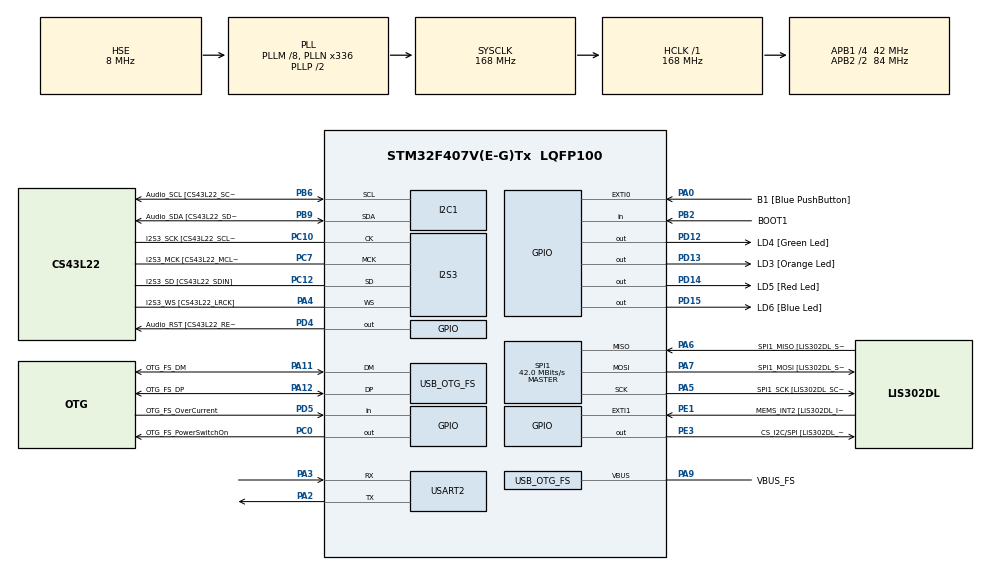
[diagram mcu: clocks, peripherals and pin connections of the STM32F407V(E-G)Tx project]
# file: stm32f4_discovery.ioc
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FREERTOS.Tasks01=defaultTask,0,128,StartDefaultTask,Default
I2S3.AudioFreq-Half_Duplex_Master=I2S_AUDIOFREQ_96K
I2S3.ErrorAudioFreq=-2.34 %
I2S3.ErrorAudioFreq-Half_Duplex_Master=0.8 %
I2S3.RealAudioFreq=93.75 KHz
I2S3.RealAudioFreq-Half_Duplex_Master=96.774 KHz
Mcu.Family=STM32F4
Mcu.Name=STM32F407V(E-G)Tx
Mcu.Package=LQFP100
NVIC.OTG_FS_IRQn=true\:5\:0\:false\:false\:true\:true
NVIC.PriorityGroup=NVIC_PRIORITYGROUP_4
PA0-WKUP.GPIO_Label=B1 [Blue PushButton]
PA0-WKUP.GPIO_ModeDefaultEXTI=GPIO_MODE_EVT_RISING
PA0-WKUP.GPIO_PuPd=GPIO_NOPULL
PA0-WKUP.Signal=GPXTI0
PA10.GPIO_Label=OTG_FS_ID
PA10.GPIO_Mode=GPIO_MODE_AF_PP
PA10.GPIO_PuPd=GPIO_NOPULL
PA10.GPIO_Speed=GPIO_SPEED_FREQ_LOW
PA10.Signal=USB_OTG_FS_ID
PA11.GPIO_Label=OTG_FS_DM
PA11.GPIO_Mode=GPIO_MODE_AF_PP
PA11.GPIO_PuPd=GPIO_NOPULL
PA11.GPIO_Speed=GPIO_SPEED_FREQ_LOW
PA11.Mode=Host_Only
PA11.Signal=USB_OTG_FS_DM
PA12.GPIO_Label=OTG_FS_DP
PA12.GPIO_Mode=GPIO_MODE_AF_PP
PA12.GPIO_PuPd=GPIO_NOPULL
PA12.GPIO_Speed=GPIO_SPEED_FREQ_LOW
PA12.Mode=Host_Only
PA12.Signal=USB_OTG_FS_DP
PA13.GPIO_Label=SWDIO
PA13.Mode=Serial_Wire
PA13.Signal=SYS_JTMS-SWDIO
PA14.GPIO_Label=SWCLK
PA14.Mode=Serial_Wire
PA14.Signal=SYS_JTCK-SWCLK
PA2.Mode=Asynchronous
PA2.Signal=USART2_TX
PA3.Mode=Asynchronous
PA3.Signal=USART2_RX
PA4.GPIO_Label=I2S3_WS [CS43L22_LRCK]
PA4.GPIO_Mode=GPIO_MODE_AF_PP
PA4.GPIO_PuPd=GPIO_NOPULL
PA4.GPIO_Speed=GPIO_SPEED_FREQ_LOW
PA4.Mode=Half_Duplex_Master
PA4.Signal=I2S3_WS
PA5.GPIO_Label=SPI1_SCK [LIS302DL_SCL/SPC]
PA5.GPIO_Mode=GPIO_MODE_AF_PP
PA5.GPIO_PuPd=GPIO_NOPULL
PA5.GPIO_Speed=GPIO_SPEED_FREQ_LOW
PA5.Mode=Full_Duplex_Master
PA5.Signal=SPI1_SCK
PA6.GPIO_Label=SPI1_MISO [LIS302DL_SDO]
PA6.GPIO_Mode=GPIO_MODE_AF_PP
PA6.GPIO_PuPd=GPIO_NOPULL
PA6.GPIO_Speed=GPIO_SPEED_FREQ_LOW
PA6.Mode=Full_Duplex_Master
PA6.Signal=SPI1_MISO
PA7.GPIO_Label=SPI1_MOSI [LIS302DL_SDA/SDI/SDO]
PA7.GPIO_Mode=GPIO_MODE_AF_PP
PA7.GPIO_PuPd=GPIO_NOPULL
PA7.GPIO_Speed=GPIO_SPEED_FREQ_LOW
PA7.Mode=Full_Duplex_Master
PA7.Signal=SPI1_MOSI
PA9.GPIO_Label=VBUS_FS
PA9.GPIO_Mode=GPIO_MODE_INPUT
PA9.GPIO_PuPd=GPIO_NOPULL
PA9.Mode=Activate_VBUS
PA9.Signal=USB_OTG_FS_VBUS
PB10.GPIO_Label=CLK_IN [MP45DT02_CLK]
PB10.GPIO_Mode=GPIO_MODE_AF_PP
PB10.GPIO_PuPd=GPIO_NOPULL
PB10.GPIO_Speed=GPIO_SPEED_FREQ_LOW
PB10.Signal=I2S2_CK
PB2.GPIO_Label=BOOT1
PB2.GPIO_Mode=GPIO_MODE_INPUT
PB2.GPIO_PuPd=GPIO_NOPULL
PB2.Signal=GPIO_Input
PB3.GPIO_Label=SWO
PB3.Signal=SYS_JTDO-SWO
PB6.GPIO_Label=Audio_SCL [CS43L22_SCL]
PB6.GPIO_Mode=GPIO_MODE_AF_OD
PB6.GPIO_PuPd=GPIO_NOPULL
PB6.GPIO_Speed=GPIO_SPEED_FREQ_LOW
PB6.Mode=I2C
PB6.Signal=I2C1_SCL
PB9.GPIO_Label=Audio_SDA [CS43L22_SDA]
PB9.GPIO_Mode=GPIO_MODE_AF_OD
PB9.GPIO_PuPd=GPIO_NOPULL
PB9.GPIO_Speed=GPIO_SPEED_FREQ_LOW
PB9.Mode=I2C
PB9.Signal=I2C1_SDA
PC0.GPIO_Label=OTG_FS_PowerSwitchOn
PC0.GPIO_PuPd=GPIO_NOPULL
PC0.GPIO_Speed=GPIO_SPEED_FREQ_LOW
PC0.PinState=GPIO_PIN_SET
PC0.Signal=GPIO_Output
PC10.GPIO_Label=I2S3_SCK [CS43L22_SCLK]
PC10.GPIO_Mode=GPIO_MODE_AF_PP
PC10.GPIO_PuPd=GPIO_NOPULL
PC10.GPIO_Speed=GPIO_SPEED_FREQ_LOW
PC10.Mode=Half_Duplex_Master
PC10.Signal=I2S3_CK
PC12.GPIO_Label=I2S3_SD [CS43L22_SDIN]
PC12.GPIO_Mode=GPIO_MODE_AF_PP
PC12.GPIO_PuPd=GPIO_NOPULL
PC12.GPIO_Speed=GPIO_SPEED_FREQ_LOW
PC12.Mode=Half_Duplex_Master
PC12.Signal=I2S3_SD
PC14-OSC32_IN.GPIO_Label=PC14-OSC32_IN
PC14-OSC32_IN.Mode=LSE-External-Oscillator
PC14-OSC32_IN.Signal=RCC_OSC32_IN
PC15-OSC32_OUT.GPIO_Label=PC15-OSC32_OUT
PC15-OSC32_OUT.Mode=LSE-External-Oscillator
PC15-OSC32_OUT.Signal=RCC_OSC32_OUT
PC3.GPIO_Label=PDM_OUT [MP45DT02_DOUT]
PC3.GPIO_Mode=GPIO_MODE_AF_PP
PC3.GPIO_PuPd=GPIO_NOPULL
PC3.GPIO_Speed=GPIO_SPEED_FREQ_LOW
PC3.Signal=I2S2_SD
PC7.GPIO_Label=I2S3_MCK [CS43L22_MCLK]
PC7.GPIO_Mode=GPIO_MODE_AF_PP
PC7.GPIO_PuPd=GPIO_NOPULL
PC7.GPIO_Speed=GPIO_SPEED_FREQ_LOW
PC7.Mode=Master_Clock_Activated
PC7.Signal=I2S3_MCK
PD12.GPIO_Label=LD4 [Green Led]
PD12.GPIO_PuPd=GPIO_NOPULL
PD12.GPIO_Speed=GPIO_SPEED_FREQ_LOW
PD12.Signal=GPIO_Output
PD13.GPIO_Label=LD3 [Orange Led]
PD13.GPIO_PuPd=GPIO_NOPULL
PD13.GPIO_Speed=GPIO_SPEED_FREQ_LOW
PD13.Signal=GPIO_Output
PD14.GPIO_Label=LD5 [Red Led]
PD14.GPIO_PuPd=GPIO_NOPULL
PD14.GPIO_Speed=GPIO_SPEED_FREQ_LOW
PD14.Signal=GPIO_Output
PD15.GPIO_Label=LD6 [Blue Led]
PD15.GPIO_PuPd=GPIO_NOPULL
PD15.GPIO_Speed=GPIO_SPEED_FREQ_LOW
PD15.Signal=GPIO_Output
PD4.GPIO_Label=Audio_RST [CS43L22_RESET]
PD4.GPIO_PuPd=GPIO_NOPULL
PD4.GPIO_Speed=GPIO_SPEED_FREQ_LOW
PD4.Signal=GPIO_Output
PD5.GPIO_Label=OTG_FS_OverCurrent
PD5.GPIO_Mode=GPIO_MODE_INPUT
PD5.GPIO_PuPd=GPIO_NOPULL
PD5.Signal=GPIO_Input
PE1.GPIO_Label=MEMS_INT2 [LIS302DL_INT2]
PE1.GPIO_ModeDefaultEXTI=GPIO_MODE_EVT_RISING
PE1.GPIO_PuPd=GPIO_NOPULL
PE1.Signal=GPXTI1
PE3.GPIO_Label=CS_I2C/SPI [LIS302DL_CS_I2C/SPI]
PE3.GPIO_PuPd=GPIO_NOPULL
PE3.GPIO_Speed=GPIO_SPEED_FREQ_LOW
PE3.Signal=GPIO_Output
PH0-OSC_IN.GPIO_Label=PH0-OSC_IN
PH0-OSC_IN.Mode=HSE-External-Oscillator
PH0-OSC_IN.Signal=RCC_OSC_IN
PH1-OSC_OUT.GPIO_Label=PH1-OSC_OUT
PH1-OSC_OUT.Mode=HSE-External-Oscillator
PH1-OSC_OUT.Signal=RCC_OSC_OUT
ProjectManager.HeapSize=0x200
ProjectManager.StackSize=0x400
ProjectManager.TargetToolchain=SW4STM32
RCC.48MHZClocksFreq_Value=48000000
RCC.AHBFreq_Value=168000000
RCC.APB1CLKDivider=RCC_HCLK_DIV4
RCC.APB1Freq_Value=42000000
RCC.APB1TimFreq_Value=84000000
RCC.APB2CLKDivider=RCC_HCLK_DIV2
RCC.APB2Freq_Value=84000000
RCC.APB2TimFreq_Value=168000000
RCC.CortexFreq_Value=168000000
RCC.HCLKFreq_Value=168000000
RCC.HSE_VALUE=8000000
RCC.HSI_VALUE=16000000
RCC.PLLM=8
RCC.PLLN=336
RCC.PLLQ=7
RCC.SYSCLKFreq_VALUE=168000000
RCC.SYSCLKSource=RCC_SYSCLKSOURCE_PLLCLK
RCC.VCOOutputFreq_Value=336000000
SPI1.BaudRatePrescaler=SPI_BAUDRATEPRESCALER_2
SPI1.BaudRatePrescaler-Full_Duplex_Master=SPI_BAUDRATEPRESCALER_2
SPI1.CalculateBaudRate=42.0 MBits/s
SPI1.CalculateBaudRate-Full_Duplex_Master=42.0 MBits/s
SPI1.Mode=SPI_MODE_MASTER
SPI1.Mode-Full_Duplex_Master=SPI_MODE_MASTER
USB_HOST.BSP.number=1
USB_HOST.USBH_HandleTypeDef-CDC_FS=hUsbHostFS
USB_HOST.VirtualModeFS=Cdc
USB_HOST0.BSP.STBoard=false
USB_HOST0.BSP.i2caddr=0
USB_HOST0.BSP.i2creg=0
USB_HOST0.BSP.instance=PC0
USB_HOST0.BSP.ip=GPIO
USB_HOST0.BSP.mode=Output
USB_HOST0.BSP.name=Drive_VBUS_FS
USB_OTG_FS.phy_itface=HCD_PHY_EMBEDDED
VP_CRC_VS_CRC.Mode=CRC_Activate
VP_FREERTOS_VS_ENABLE.Mode=Enabled
VP_IWDG_VS_IWDG.Mode=IWDG_Activate
VP_RNG_VS_RNG.Mode=RNG_Activate
VP_USB_HOST_VS_USB_HOST_CDC_FS.Mode=CDC_FS
VP_WWDG_VS_WWDG.Mode=WWDG_Activate
board=STM32F4DISCOVERY

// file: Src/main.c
/**
  ******************************************************************************
  * File Name          : main.c
  * Description        : Main program body
  ******************************************************************************
  *
  * COPYRIGHT(c) 2017 STMicroelectronics
  *
  * Redistribution and use in source and binary forms, with or without modification,
  * are permitted provided that the following conditions are met:
  *   1. Redistributions of source code must retain the above copyright notice,
  *      this list of conditions and the following disclaimer.
  *   2. Redistributions in binary form must reproduce the above copyright notice,
  *      this list of conditions and the following disclaimer in the documentation
  *      and/or other materials provided with the distribution.
  *   3. Neither the name of STMicroelectronics nor the names of its contributors
  *      may be used to endorse or promote products derived from this software
  *      without specific prior written permission.
  *
  * THIS SOFTWARE IS PROVIDED BY THE COPYRIGHT HOLDERS AND CONTRIBUTORS "AS IS"
  * AND ANY EXPRESS OR IMPLIED WARRANTIES, INCLUDING, BUT NOT LIMITED TO, THE
  * IMPLIED WARRANTIES OF MERCHANTABILITY AND FITNESS FOR A PARTICULAR PURPOSE ARE
  * DISCLAIMED. IN NO EVENT SHALL THE COPYRIGHT HOLDER OR CONTRIBUTORS BE LIABLE
  * FOR ANY DIRECT, INDIRECT, INCIDENTAL, SPECIAL, EXEMPLARY, OR CONSEQUENTIAL
  * DAMAGES (INCLUDING, BUT NOT LIMITED TO, PROCUREMENT OF SUBSTITUTE GOODS OR
  * SERVICES; LOSS OF USE, DATA, OR PROFITS; OR BUSINESS INTERRUPTION) HOWEVER
  * CAUSED AND ON ANY THEORY OF LIABILITY, WHETHER IN CONTRACT, STRICT LIABILITY,
  * OR TORT (INCLUDING NEGLIGENCE OR OTHERWISE) ARISING IN ANY WAY OUT OF THE USE
  * OF THIS SOFTWARE, EVEN IF ADVISED OF THE POSSIBILITY OF SUCH DAMAGE.
  *
  ******************************************************************************
  */
#include "stm32f4xx_hal.h"
#include "cmsis_os.h"
#include "usb_host.h"

CRC_HandleTypeDef hcrc;

I2C_HandleTypeDef hi2c1;

I2S_HandleTypeDef hi2s3;

IWDG_HandleTypeDef hiwdg;

RNG_HandleTypeDef hrng;

SPI_HandleTypeDef hspi1;

UART_HandleTypeDef huart2;

WWDG_HandleTypeDef hwwdg;

osThreadId defaultTaskHandle;

/* USER CODE BEGIN PV */
/* Private variables ---------------------------------------------------------*/

/* USER CODE END PV */

void SystemClock_Config(void);
void Error_Handler(void);
static void MX_GPIO_Init(void);
static void MX_I2C1_Init(void);
static void MX_I2S3_Init(void);
static void MX_SPI1_Init(void);
static void MX_CRC_Init(void);
static void MX_IWDG_Init(void);
static void MX_RNG_Init(void);
static void MX_WWDG_Init(void);
static void MX_USART2_UART_Init(void);
void StartDefaultTask(void const * argument);

/* USER CODE BEGIN PFP */
/* Private function prototypes -----------------------------------------------*/

//tasks
static portTASK_FUNCTION_PROTO( vTaskMonitor, pvParameters );

//global variables
//here, we consider every task should report to the supervisor task through event group,
EventGroupHandle_t sync_group;

BaseType_t sync_reference; //this reference counter is increased every second,
BaseType_t sync_task_group[32];

/*******************************************************************/

void USART2_IRQHandler(void)
{
	uint8_t u8_Data;
	static uint8_t u8_Count = 0;
	//RX
	if (huart2.Instance->SR & UART_FLAG_RXNE)
	{
		u8_Data = huart2.Instance->DR;
	}

	//TX
	if (huart2.Instance->SR & UART_FLAG_TXE)
	{
		huart2.Instance->DR = 'S';

		u8_Count++;

		if (u8_Count >= 18)
		{
			u8_Count = 18;
			//disable the TRANSFER
			huart2.Instance->CR1 &= ~USART_CR1_TXEIE;
			huart2.Instance->SR &= ~UART_FLAG_TC;
		}
	}
}

void Set_LED_on(uint32_t led_pos)
{
	switch(led_pos){
	case LD4_Pin:
	case LD3_Pin:
	case LD5_Pin:
	case LD6_Pin:
		HAL_GPIO_WritePin(GPIOD, led_pos, GPIO_PIN_SET);

	default:
		;
	}
}

void Set_LED_off(uint32_t led_pos)
{
	switch(led_pos){
	case LD4_Pin:
	case LD3_Pin:
	case LD5_Pin:
	case LD6_Pin:
		HAL_GPIO_WritePin(GPIOD, led_pos, GPIO_PIN_RESET);

	default:
		;
	}
}

void vApplicationIdleHook( void )
{
	HAL_IWDG_Refresh(&hiwdg);
}

static BaseType_t increase_and_check_sync(void)
{
	vPortEnterCritical();
	sync_reference++;
	vPortExitCritical();
}
/*
 *
 *
 */
static portTASK_FUNCTION( vTaskMonitor, pvParameters )//void vTaskMonitor(void *pvParameters)
{
#define HALF_SECOND (configTICK_RATE_HZ>>1)
#define ALARM_FREQ	(configTICK_RATE_HZ>>2)

	uint8_t pData[2];
	uint8_t u8_Flag = 0;

	//
	TickType_t  xLastFlashTime;

	HAL_NVIC_EnableIRQ(USART2_IRQn);
	sync_group = xEventGroupCreate();

	xLastFlashTime = xTaskGetTickCount();
	//
	pData[0] = 0x55;
	pData[1] = 0xAA;

	for(;;)
	{
		//feeding the dog
		//HAL_IWDG_Refresh();

		//sync_reference++;
		increase_and_check_sync();

		//LD4 heartbeat
		Set_LED_on(LD4_Pin);

		vTaskDelayUntil(&xLastFlashTime, HALF_SECOND);

		Set_LED_off(LD4_Pin);

		vTaskDelayUntil(&xLastFlashTime, HALF_SECOND);

		HAL_UART_Transmit(&huart2, pData, 2, 20000);
		if (!u8_Flag)
		{
			u8_Flag = 1;
			HAL_UART_Transmit_IT(&huart2, &u8_Flag, 1);

		}
	}
}

/* USER CODE END PFP */

int main(void)
{

  /* MCU Configuration----------------------------------------------------------*/

  /* Reset of all peripherals, Initializes the Flash interface and the Systick. */
  HAL_Init();

  /* Configure the system clock */
  SystemClock_Config();

  /* Initialize all configured peripherals */
  MX_GPIO_Init();
  MX_I2C1_Init();
  MX_I2S3_Init();
  MX_SPI1_Init();
  MX_CRC_Init();
  //MX_IWDG_Init();
  MX_RNG_Init();
  //MX_WWDG_Init();
  MX_USART2_UART_Init();

  /* Create the thread(s) */
  /* definition and creation of defaultTask */
  osThreadDef(defaultTask, StartDefaultTask, osPriorityNormal, 0, 128);
  defaultTaskHandle = osThreadCreate(osThread(defaultTask), NULL);

  xTaskCreate(vTaskMonitor, "task supervisor", 128, NULL, configMAX_PRIORITIES-1, NULL);

  /* Start scheduler */
  osKernelStart();

  /* We should never get here as control is now taken by the scheduler */

  /* Infinite loop */
  while (1)
  {

  }

}

/** System Clock Configuration
*/
void SystemClock_Config(void)
{

  RCC_OscInitTypeDef RCC_OscInitStruct;
  RCC_ClkInitTypeDef RCC_ClkInitStruct;
  RCC_PeriphCLKInitTypeDef PeriphClkInitStruct;

  __HAL_RCC_PWR_CLK_ENABLE();

  __HAL_PWR_VOLTAGESCALING_CONFIG(PWR_REGULATOR_VOLTAGE_SCALE1);

  RCC_OscInitStruct.OscillatorType = RCC_OSCILLATORTYPE_LSI|RCC_OSCILLATORTYPE_HSE;
  RCC_OscInitStruct.HSEState = RCC_HSE_ON;
  RCC_OscInitStruct.LSIState = RCC_LSI_ON;
  RCC_OscInitStruct.PLL.PLLState = RCC_PLL_ON;
  RCC_OscInitStruct.PLL.PLLSource = RCC_PLLSOURCE_HSE;
  RCC_OscInitStruct.PLL.PLLM = 8;
  RCC_OscInitStruct.PLL.PLLN = 336;
  RCC_OscInitStruct.PLL.PLLP = RCC_PLLP_DIV2;
  RCC_OscInitStruct.PLL.PLLQ = 7;
  if (HAL_RCC_OscConfig(&RCC_OscInitStruct) != HAL_OK)
  {
    Error_Handler();
  }

  RCC_ClkInitStruct.ClockType = RCC_CLOCKTYPE_HCLK|RCC_CLOCKTYPE_SYSCLK
                              |RCC_CLOCKTYPE_PCLK1|RCC_CLOCKTYPE_PCLK2;
  RCC_ClkInitStruct.SYSCLKSource = RCC_SYSCLKSOURCE_PLLCLK;
  RCC_ClkInitStruct.AHBCLKDivider = RCC_SYSCLK_DIV1;
  RCC_ClkInitStruct.APB1CLKDivider = RCC_HCLK_DIV4;
  RCC_ClkInitStruct.APB2CLKDivider = RCC_HCLK_DIV2;
  if (HAL_RCC_ClockConfig(&RCC_ClkInitStruct, FLASH_LATENCY_5) != HAL_OK)
  {
    Error_Handler();
  }

  PeriphClkInitStruct.PeriphClockSelection = RCC_PERIPHCLK_I2S;
  PeriphClkInitStruct.PLLI2S.PLLI2SN = 192;
  PeriphClkInitStruct.PLLI2S.PLLI2SR = 2;
  if (HAL_RCCEx_PeriphCLKConfig(&PeriphClkInitStruct) != HAL_OK)
  {
    Error_Handler();
  }

  HAL_SYSTICK_Config(HAL_RCC_GetHCLKFreq()/1000);

  HAL_SYSTICK_CLKSourceConfig(SYSTICK_CLKSOURCE_HCLK);

  /* SysTick_IRQn interrupt configuration */
  HAL_NVIC_SetPriority(SysTick_IRQn, 15, 0);
}

/* CRC init function */
static void MX_CRC_Init(void)
{

  hcrc.Instance = CRC;
  if (HAL_CRC_Init(&hcrc) != HAL_OK)
  {
    Error_Handler();
  }

}

/* I2C1 init function */
static void MX_I2C1_Init(void)
{

  hi2c1.Instance = I2C1;
  hi2c1.Init.ClockSpeed = 100000;
  hi2c1.Init.DutyCycle = I2C_DUTYCYCLE_2;
  hi2c1.Init.OwnAddress1 = 0;
  hi2c1.Init.AddressingMode = I2C_ADDRESSINGMODE_7BIT;
  hi2c1.Init.DualAddressMode = I2C_DUALADDRESS_DISABLE;
  hi2c1.Init.OwnAddress2 = 0;
  hi2c1.Init.GeneralCallMode = I2C_GENERALCALL_DISABLE;
  hi2c1.Init.NoStretchMode = I2C_NOSTRETCH_DISABLE;
  if (HAL_I2C_Init(&hi2c1) != HAL_OK)
  {
    Error_Handler();
  }

}

/* I2S3 init function */
static void MX_I2S3_Init(void)
{

  hi2s3.Instance = SPI3;
  hi2s3.Init.Mode = I2S_MODE_MASTER_TX;
  hi2s3.Init.Standard = I2S_STANDARD_PHILIPS;
  hi2s3.Init.DataFormat = I2S_DATAFORMAT_16B;
  hi2s3.Init.MCLKOutput = I2S_MCLKOUTPUT_ENABLE;
  hi2s3.Init.AudioFreq = I2S_AUDIOFREQ_96K;
  hi2s3.Init.CPOL = I2S_CPOL_LOW;
  hi2s3.Init.ClockSource = I2S_CLOCK_PLL;
  hi2s3.Init.FullDuplexMode = I2S_FULLDUPLEXMODE_DISABLE;
  if (HAL_I2S_Init(&hi2s3) != HAL_OK)
  {
    Error_Handler();
  }

}

/* IWDG init function */
static void MX_IWDG_Init(void)
{

  hiwdg.Instance = IWDG;
  hiwdg.Init.Prescaler = IWDG_PRESCALER_4;
  hiwdg.Init.Reload = 4095;
  if (HAL_IWDG_Init(&hiwdg) != HAL_OK)
  {
    Error_Handler();
  }

}

/* RNG init function */
static void MX_RNG_Init(void)
{

  hrng.Instance = RNG;
  if (HAL_RNG_Init(&hrng) != HAL_OK)
  {
    Error_Handler();
  }

}

/* SPI1 init function */
static void MX_SPI1_Init(void)
{

  hspi1.Instance = SPI1;
  hspi1.Init.Mode = SPI_MODE_MASTER;
  hspi1.Init.Direction = SPI_DIRECTION_2LINES;
  hspi1.Init.DataSize = SPI_DATASIZE_8BIT;
  hspi1.Init.CLKPolarity = SPI_POLARITY_LOW;
  hspi1.Init.CLKPhase = SPI_PHASE_1EDGE;
  hspi1.Init.NSS = SPI_NSS_SOFT;
  hspi1.Init.BaudRatePrescaler = SPI_BAUDRATEPRESCALER_2;
  hspi1.Init.FirstBit = SPI_FIRSTBIT_MSB;
  hspi1.Init.TIMode = SPI_TIMODE_DISABLE;
  hspi1.Init.CRCCalculation = SPI_CRCCALCULATION_DISABLE;
  hspi1.Init.CRCPolynomial = 10;
  if (HAL_SPI_Init(&hspi1) != HAL_OK)
  {
    Error_Handler();
  }

}

/* USART2 init function */
static void MX_USART2_UART_Init(void)
{
//NVIC_InitTypeDef NVIC_InitStructure;

//	NVIC_InitStructure.NVIC_IRQChannel = USART2_IRQn;
//	NVIC_InitStructure.NVIC_IRQChannelPreemptionPriority = configLIBRARY_MAX_SYSCALL_INTERRUPT_PRIORITY + 1;
//	NVIC_InitStructure.NVIC_IRQChannelSubPriority = 0;
//	NVIC_InitStructure.NVIC_IRQChannelCmd = ENABLE;
//	NVIC_Init( &NVIC_InitStructure );

  huart2.Instance = USART2;
  huart2.Init.BaudRate = 115200;
  huart2.Init.WordLength = UART_WORDLENGTH_8B;
  huart2.Init.StopBits = UART_STOPBITS_1;
  huart2.Init.Parity = UART_PARITY_NONE;
  huart2.Init.Mode = UART_MODE_TX_RX;
  huart2.Init.HwFlowCtl = UART_HWCONTROL_NONE;
  huart2.Init.OverSampling = UART_OVERSAMPLING_16;
  if (HAL_UART_Init(&huart2) != HAL_OK)
  {
    Error_Handler();
  }

}

/* WWDG init function */
static void MX_WWDG_Init(void)
{

  hwwdg.Instance = WWDG;
  hwwdg.Init.Prescaler = WWDG_PRESCALER_1;
  hwwdg.Init.Window = 64;
  hwwdg.Init.Counter = 64;
  hwwdg.Init.EWIMode = WWDG_EWI_DISABLE;
  if (HAL_WWDG_Init(&hwwdg) != HAL_OK)
  {
    Error_Handler();
  }

}

/** Configure pins as
        * Analog
        * Input
        * Output
        * EVENT_OUT
        * EXTI
     PC3   ------> I2S2_SD
     PB10   ------> I2S2_CK
*/
static void MX_GPIO_Init(void)
{

  GPIO_InitTypeDef GPIO_InitStruct;

  /* GPIO Ports Clock Enable */
  __HAL_RCC_GPIOE_CLK_ENABLE();
  __HAL_RCC_GPIOC_CLK_ENABLE();
  __HAL_RCC_GPIOH_CLK_ENABLE();
  __HAL_RCC_GPIOA_CLK_ENABLE();
  __HAL_RCC_GPIOB_CLK_ENABLE();
  __HAL_RCC_GPIOD_CLK_ENABLE();

  /*Configure GPIO pin Output Level */
  HAL_GPIO_WritePin(CS_I2C_SPI_GPIO_Port, CS_I2C_SPI_Pin, GPIO_PIN_RESET);

  /*Configure GPIO pin Output Level */
  HAL_GPIO_WritePin(OTG_FS_PowerSwitchOn_GPIO_Port, OTG_FS_PowerSwitchOn_Pin, GPIO_PIN_SET);

  /*Configure GPIO pin Output Level */
  HAL_GPIO_WritePin(GPIOD, LD4_Pin|LD3_Pin|LD5_Pin|LD6_Pin
                          |Audio_RST_Pin, GPIO_PIN_RESET);

  /*Configure GPIO pin : CS_I2C_SPI_Pin */
  GPIO_InitStruct.Pin = CS_I2C_SPI_Pin;
  GPIO_InitStruct.Mode = GPIO_MODE_OUTPUT_PP;
  GPIO_InitStruct.Pull = GPIO_NOPULL;
  GPIO_InitStruct.Speed = GPIO_SPEED_FREQ_LOW;
  HAL_GPIO_Init(CS_I2C_SPI_GPIO_Port, &GPIO_InitStruct);

  /*Configure GPIO pin : OTG_FS_PowerSwitchOn_Pin */
  GPIO_InitStruct.Pin = OTG_FS_PowerSwitchOn_Pin;
  GPIO_InitStruct.Mode = GPIO_MODE_OUTPUT_PP;
  GPIO_InitStruct.Pull = GPIO_NOPULL;
  GPIO_InitStruct.Speed = GPIO_SPEED_FREQ_LOW;
  HAL_GPIO_Init(OTG_FS_PowerSwitchOn_GPIO_Port, &GPIO_InitStruct);

  /*Configure GPIO pin : PDM_OUT_Pin */
  GPIO_InitStruct.Pin = PDM_OUT_Pin;
  GPIO_InitStruct.Mode = GPIO_MODE_AF_PP;
  GPIO_InitStruct.Pull = GPIO_NOPULL;
  GPIO_InitStruct.Speed = GPIO_SPEED_FREQ_LOW;
  GPIO_InitStruct.Alternate = GPIO_AF5_SPI2;
  HAL_GPIO_Init(PDM_OUT_GPIO_Port, &GPIO_InitStruct);

  /*Configure GPIO pin : B1_Pin */
  GPIO_InitStruct.Pin = B1_Pin;
  GPIO_InitStruct.Mode = GPIO_MODE_EVT_RISING;
  GPIO_InitStruct.Pull = GPIO_NOPULL;
  HAL_GPIO_Init(B1_GPIO_Port, &GPIO_InitStruct);

  /*Configure GPIO pin : BOOT1_Pin */
  GPIO_InitStruct.Pin = BOOT1_Pin;
  GPIO_InitStruct.Mode = GPIO_MODE_INPUT;
  GPIO_InitStruct.Pull = GPIO_NOPULL;
  HAL_GPIO_Init(BOOT1_GPIO_Port, &GPIO_InitStruct);

  /*Configure GPIO pin : CLK_IN_Pin */
  GPIO_InitStruct.Pin = CLK_IN_Pin;
  GPIO_InitStruct.Mode = GPIO_MODE_AF_PP;
  GPIO_InitStruct.Pull = GPIO_NOPULL;
  GPIO_InitStruct.Speed = GPIO_SPEED_FREQ_LOW;
  GPIO_InitStruct.Alternate = GPIO_AF5_SPI2;
  HAL_GPIO_Init(CLK_IN_GPIO_Port, &GPIO_InitStruct);

  /*Configure GPIO pins : LD4_Pin LD3_Pin LD5_Pin LD6_Pin
                           Audio_RST_Pin */
  GPIO_InitStruct.Pin = LD4_Pin|LD3_Pin|LD5_Pin|LD6_Pin
                          |Audio_RST_Pin;
  GPIO_InitStruct.Mode = GPIO_MODE_OUTPUT_PP;
  GPIO_InitStruct.Pull = GPIO_NOPULL;
  GPIO_InitStruct.Speed = GPIO_SPEED_FREQ_LOW;
  HAL_GPIO_Init(GPIOD, &GPIO_InitStruct);

  /*Configure GPIO pin : OTG_FS_OverCurrent_Pin */
  GPIO_InitStruct.Pin = OTG_FS_OverCurrent_Pin;
  GPIO_InitStruct.Mode = GPIO_MODE_INPUT;
  GPIO_InitStruct.Pull = GPIO_NOPULL;
  HAL_GPIO_Init(OTG_FS_OverCurrent_GPIO_Port, &GPIO_InitStruct);

  /*Configure GPIO pin : MEMS_INT2_Pin */
  GPIO_InitStruct.Pin = MEMS_INT2_Pin;
  GPIO_InitStruct.Mode = GPIO_MODE_EVT_RISING;
  GPIO_InitStruct.Pull = GPIO_NOPULL;
  HAL_GPIO_Init(MEMS_INT2_GPIO_Port, &GPIO_InitStruct);

}

/* StartDefaultTask function */
void StartDefaultTask(void const * argument)
{
  /* init code for USB_HOST */
  MX_USB_HOST_Init();

  for(;;)
  {
    osDelay(1);
  }
}

void Error_Handler(void)
{
  while(1)
  {
  }
}

/************************ (C) COPYRIGHT STMicroelectronics *****END OF FILE****/
